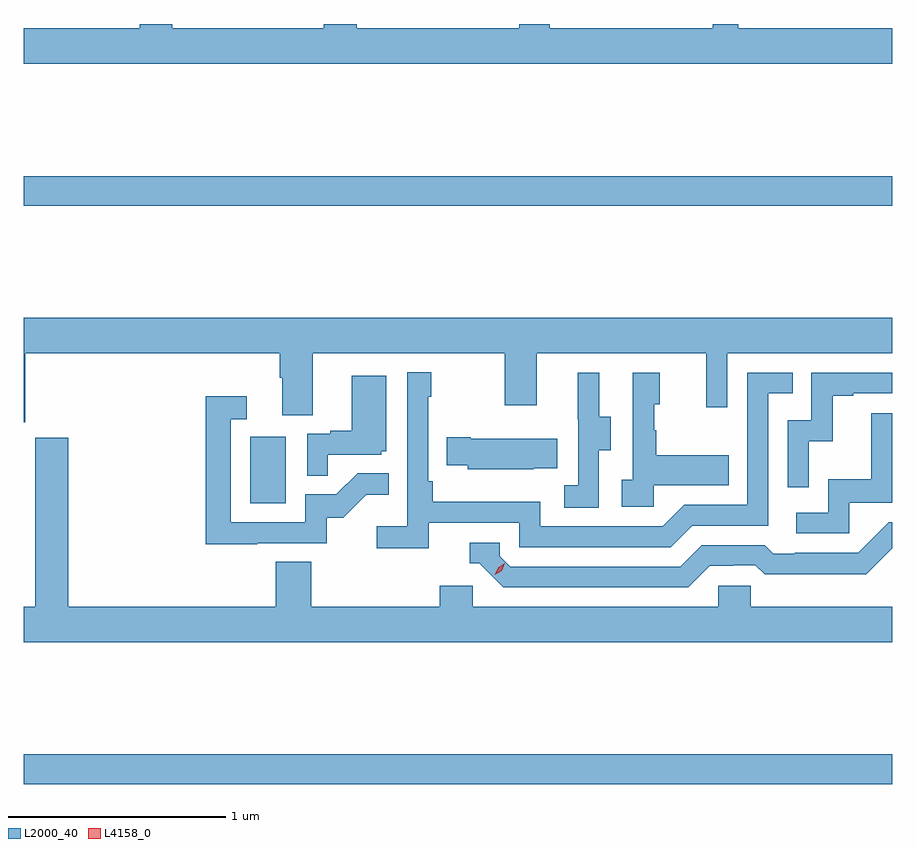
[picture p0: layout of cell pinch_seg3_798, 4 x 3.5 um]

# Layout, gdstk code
import gdstk
lib = gdstk.Library(unit=1e-6, precision=1e-09)
def R(c, l, rs):  # rectangles x0, y0, x1, y1
    for r in rs: c.add(gdstk.rectangle(r[:2], r[2:], *l))
def P(c, l, *ps):  # polygons
    for p in ps: c.add(gdstk.Polygon(p, *l))
L2000_40 = (2000, 40)
L4158_0 = (4158, 0)

pinch_seg3_798 = lib.new_cell('pinch_seg3_798')
R(pinch_seg3_798, L2000_40, [(877.341,713.584,881.341,713.72), (878.384,714.876,878.548,715.183), (877.341,716.248,881.341,716.384)])
P(pinch_seg3_798, L2000_40, [(881.341,717.064),(880.631,717.064),(880.631,717.084),(880.515,717.084),(880.515,717.064),(879.763,717.064),(879.763,717.084),(879.624,717.084),(879.624,717.064),(878.874,717.064),(878.874,717.084),(878.723,717.084),(878.723,717.064),(878.025,717.064),(878.025,717.084),(877.875,717.084),(877.875,717.064),(877.341,717.064),(877.341,716.9),(881.341,716.9)],
  [(877.341,715.251),(877.348,715.251),(877.348,715.568),(878.519,715.568),(878.519,715.456),(878.531,715.456),(878.531,715.282),(878.671,715.282),(878.671,715.568),(879.556,715.568),(879.556,715.329),(879.703,715.329),(879.703,715.568),(880.484,715.568),(880.484,715.32),(880.581,715.32),(880.581,715.568),(881.341,715.568),(881.341,715.732),(877.341,715.732)],
  [(879.206,714.786),(879.624,714.786),(879.624,714.675),(880.321,714.675),(880.42,714.774),(880.77,714.774),(880.77,715.383),(880.883,715.383),(880.883,715.479),(880.674,715.479),(880.674,714.87),(880.383,714.87),(880.284,714.771),(879.72,714.771),(879.72,714.883),(879.224,714.883),(879.224,714.979),(879.204,714.979),(879.204,715.367),(879.217,715.367),(879.217,715.48),(879.108,715.48),(879.108,714.772),(878.967,714.772),(878.967,714.67),(879.206,714.67)],
  [(880.956,715.163),(881.066,715.163),(881.066,715.371),(881.161,715.371),(881.161,715.383),(881.341,715.383),(881.341,715.479),(880.968,715.479),(880.968,715.26),(880.86,715.26),(880.86,714.951),(880.956,714.951)],
  [(880.242,714.959),(880.589,714.959),(880.589,715.099),(880.255,715.099),(880.255,715.214),(880.245,715.214),(880.245,715.332),(880.27,715.332),(880.27,715.477),(880.146,715.477),(880.146,714.986),(880.095,714.986),(880.095,714.861),(880.242,714.861)],
  [(879.99,715.12),(880.045,715.12),(880.045,715.275),(879.991,715.275),(879.991,715.477),(879.893,715.477),(879.893,715.263),(879.894,715.263),(879.894,714.959),(879.831,714.959),(879.831,714.856),(879.99,714.856)],
  [(878.741,715.101),(878.988,715.101),(878.988,715.116),(879.01,715.116),(879.01,715.465),(878.852,715.465),(878.852,715.21),(878.753,715.21),(878.753,715.197),(878.646,715.197),(878.646,715.003),(878.741,715.003)],
  [(878.417,714.693),(878.736,714.693),(878.736,714.81),(878.812,714.81),(878.919,714.917),(879.023,714.917),(879.023,715.016),(878.879,715.016),(878.781,714.918),(878.637,714.918),(878.637,714.789),(878.295,714.789),(878.295,715.263),(878.368,715.263),(878.368,715.369),(878.179,715.369),(878.179,714.688),(878.417,714.688)],
  [(881.142,714.879),(881.341,714.879),(881.341,715.291),(881.245,715.291),(881.245,714.988),(881.046,714.988),(881.046,714.834),(880.899,714.834),(880.899,714.738),(881.142,714.738)],
  [(879.689,715.037),(879.797,715.037),(879.797,715.174),(879.4,715.174),(879.4,715.182),(879.289,715.182),(879.289,715.052),(879.387,715.052),(879.387,715.034),(879.689,715.034)],
  [(881.341,714.4),(880.689,714.4),(880.689,714.498),(880.539,714.498),(880.539,714.4),(879.408,714.4),(879.408,714.498),(879.257,714.498),(879.257,714.4),(878.666,714.4),(878.666,714.608),(878.501,714.608),(878.501,714.4),(877.547,714.4),(877.547,715.179),(877.394,715.179),(877.394,714.4),(877.341,714.4),(877.341,714.236),(881.341,714.236)],
  [(880.501,714.588),(880.608,714.588),(880.608,714.591),(880.711,714.591),(880.753,714.549),(880.986,714.549),(880.986,714.551),(881.222,714.551),(881.341,714.67),(881.341,714.789),(881.325,714.789),(881.184,714.648),(880.891,714.648),(880.891,714.645),(880.792,714.645),(880.753,714.684),(880.464,714.684),(880.365,714.585),(879.582,714.585),(879.534,714.633),(879.534,714.696),(879.395,714.696),(879.395,714.6),(879.438,714.6),(879.549,714.489),(880.402,714.489)])
P(pinch_seg3_798, L4158_0, [(879.511,714.547),(879.511,714.547),(879.526,714.58),(879.557,714.6),(879.557,714.6),(879.557,714.6),(879.542,714.567),(879.511,714.547)])

lib.write_gds('pinch_seg3_798.gds')
